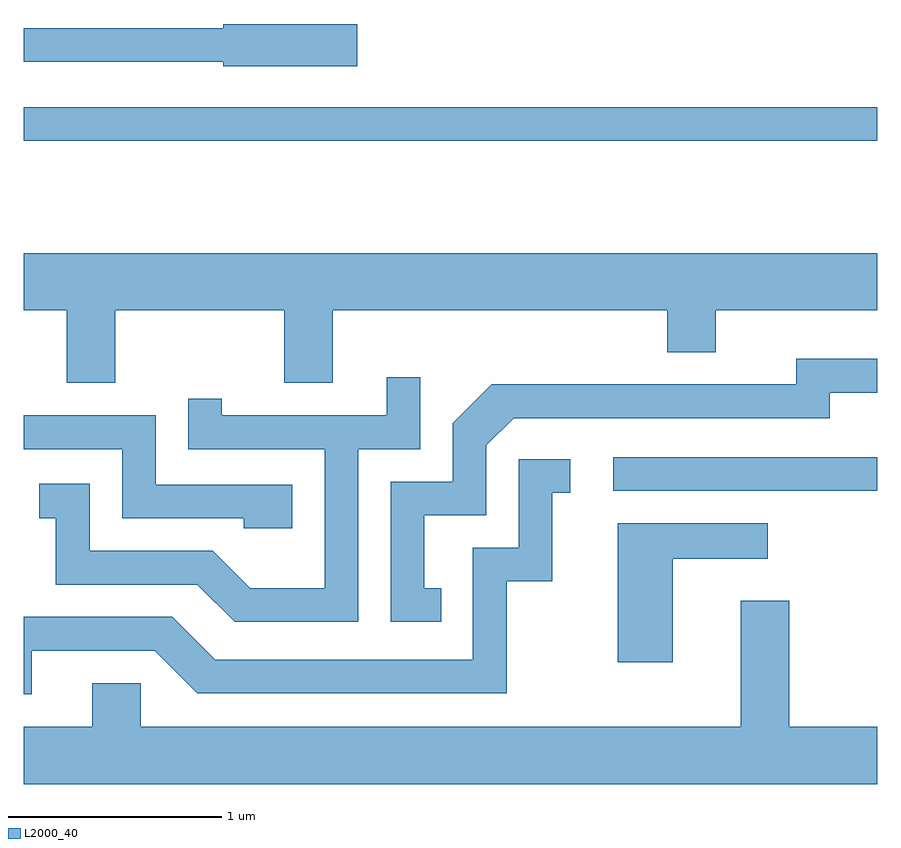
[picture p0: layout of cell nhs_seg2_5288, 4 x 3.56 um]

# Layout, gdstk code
import gdstk
lib = gdstk.Library(unit=1e-6, precision=1e-09)
def R(c, l, rs):  # rectangles x0, y0, x1, y1
    for r in rs: c.add(gdstk.rectangle(r[:2], r[2:], *l))
def P(c, l, *ps):  # polygons
    for p in ps: c.add(gdstk.Polygon(p, *l))
L2000_40 = (2000, 40)

nhs_seg2_5288 = lib.new_cell('nhs_seg2_5288')
R(nhs_seg2_5288, L2000_40, [(344.373,1007.511,345.611,1007.669), (341.611,1009.151,345.611,1009.309)])
P(nhs_seg2_5288, L2000_40, [(343.174,1009.699),(342.546,1009.699),(342.546,1009.679),(341.611,1009.679),(341.611,1009.521),(342.546,1009.521),(342.546,1009.501),(343.174,1009.501)],
  [(342.039,1008.356),(342.831,1008.356),(342.831,1008.016),(343.059,1008.016),(343.059,1008.356),(344.626,1008.356),(344.626,1008.161),(344.854,1008.161),(344.854,1008.356),(345.611,1008.356),(345.611,1008.624),(341.611,1008.624),(341.611,1008.356),(341.811,1008.356),(341.811,1008.016),(342.039,1008.016)],
  [(343.568,1007.054),(343.489,1007.054),(343.489,1007.396),(343.779,1007.396),(343.779,1007.724),(343.907,1007.851),(345.389,1007.851),(345.389,1007.971),(345.611,1007.971),(345.611,1008.129),(345.231,1008.129),(345.231,1008.009),(343.804,1008.009),(343.621,1007.827),(343.621,1007.554),(343.331,1007.554),(343.331,1006.896),(343.568,1006.896)],
  [(343.179,1007.706),(343.469,1007.706),(343.469,1008.043),(343.311,1008.043),(343.311,1007.864),(342.539,1007.864),(342.539,1007.943),(342.381,1007.943),(342.381,1007.706),(343.021,1007.706),(343.021,1007.054),(342.672,1007.054),(342.497,1007.229),(341.919,1007.229),(341.919,1007.544),(341.683,1007.544),(341.683,1007.381),(341.761,1007.381),(341.761,1007.071),(342.424,1007.071),(342.599,1006.896),(343.179,1006.896)],
  [(342.869,1007.539),(342.229,1007.539),(342.229,1007.864),(341.611,1007.864),(341.611,1007.706),(342.071,1007.706),(342.071,1007.381),(342.641,1007.381),(342.641,1007.336),(342.869,1007.336)],
  [(341.649,1006.761),(342.224,1006.761),(342.424,1006.561),(343.874,1006.561),(343.874,1007.086),(344.089,1007.086),(344.089,1007.501),(344.173,1007.501),(344.173,1007.659),(343.931,1007.659),(343.931,1007.244),(343.716,1007.244),(343.716,1006.719),(342.507,1006.719),(342.307,1006.919),(341.611,1006.919),(341.611,1006.556),(341.649,1006.556)],
  [(344.654,1007.191),(345.098,1007.191),(345.098,1007.359),(344.396,1007.359),(344.396,1006.706),(344.654,1006.706)],
  [(345.611,1006.404),(345.199,1006.404),(345.199,1006.994),(344.971,1006.994),(344.971,1006.404),(342.159,1006.404),(342.159,1006.609),(341.931,1006.609),(341.931,1006.404),(341.611,1006.404),(341.611,1006.136),(345.611,1006.136)])

lib.write_gds('nhs_seg2_5288.gds')
